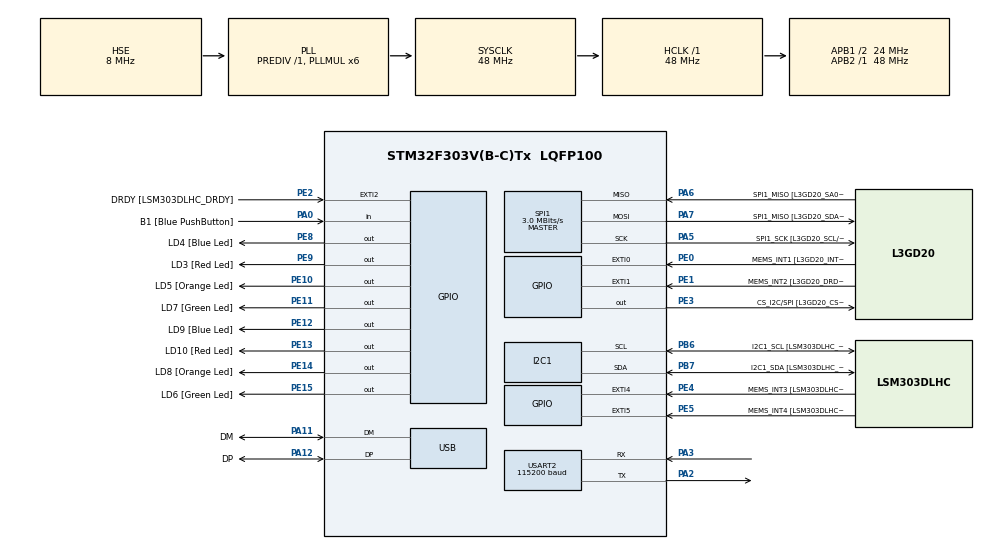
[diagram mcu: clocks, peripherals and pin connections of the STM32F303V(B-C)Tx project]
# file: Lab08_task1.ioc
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I2C1.Timing=0x2000090E
I2C1.Timing-I2C=0x2000090E
Mcu.Family=STM32F3
Mcu.Name=STM32F303V(B-C)Tx
Mcu.Package=LQFP100
NVIC.PriorityGroup=NVIC_PRIORITYGROUP_0
PA0.GPIO_Label=B1 [Blue PushButton]
PA0.Signal=GPIO_Input
PA11.GPIO_Label=DM
PA11.Mode=Device
PA11.Signal=USB_DM
PA12.GPIO_Label=DP
PA12.Mode=Device
PA12.Signal=USB_DP
PA13.GPIO_Label=SWDIO
PA13.Mode=Serial_Wire
PA13.Signal=SYS_JTMS-SWDIO
PA14.GPIO_Label=SWCLK
PA14.Mode=Serial_Wire
PA14.Signal=SYS_JTCK-SWCLK
PA2.Mode=Asynchronous
PA2.Signal=USART2_TX
PA3.Mode=Asynchronous
PA3.Signal=USART2_RX
PA5.GPIO_Label=SPI1_SCK [L3GD20_SCL/SPC]
PA5.Mode=Full_Duplex_Master
PA5.Signal=SPI1_SCK
PA6.GPIO_Label=SPI1_MISO [L3GD20_SA0/SDO]
PA6.Mode=Full_Duplex_Master
PA6.Signal=SPI1_MISO
PA7.GPIO_Label=SPI1_MISO [L3GD20_SDA/SDI/SDO]
PA7.Mode=Full_Duplex_Master
PA7.Signal=SPI1_MOSI
PB3.GPIO_Label=SWO
PB3.Signal=SYS_JTDO-TRACESWO
PB6.GPIO_Label=I2C1_SCL [LSM303DLHC_SCL]
PB6.GPIO_Pu=GPIO_PULLUP
PB6.Mode=I2C
PB6.Signal=I2C1_SCL
PB7.GPIO_Label=I2C1_SDA [LSM303DLHC_SDA]
PB7.GPIO_Pu=GPIO_PULLUP
PB7.Mode=I2C
PB7.Signal=I2C1_SDA
PC14-OSC32_IN.GPIO_Label=OSC32_IN
PC14-OSC32_IN.Signal=RCC_OSC32_IN
PC15-OSC32_OUT.GPIO_Label=OSC32_OUT
PC15-OSC32_OUT.Signal=RCC_OSC32_OUT
PE0.GPIO_Label=MEMS_INT1 [L3GD20_INT1]
PE0.GPIO_ModeDefaultEXTI=GPIO_MODE_EVT_RISING
PE0.Signal=GPXTI0
PE1.GPIO_Label=MEMS_INT2 [L3GD20_DRDY/INT2]
PE1.GPIO_ModeDefaultEXTI=GPIO_MODE_EVT_RISING
PE1.Signal=GPXTI1
PE10.GPIO_Label=LD5 [Orange Led]
PE10.Signal=GPIO_Output
PE11.GPIO_Label=LD7 [Green Led]
PE11.Signal=GPIO_Output
PE12.GPIO_Label=LD9 [Blue Led]
PE12.Signal=GPIO_Output
PE13.GPIO_Label=LD10 [Red Led]
PE13.Signal=GPIO_Output
PE14.GPIO_Label=LD8 [Orange Led]
PE14.Signal=GPIO_Output
PE15.GPIO_Label=LD6 [Green Led]
PE15.Signal=GPIO_Output
PE2.GPIO_Label=DRDY [LSM303DLHC_DRDY]
PE2.GPIO_ModeDefaultEXTI=GPIO_MODE_EVT_RISING
PE2.Signal=GPXTI2
PE3.GPIO_Label=CS_I2C/SPI [L3GD20_CS_I2C/SPI]
PE3.Signal=GPIO_Output
PE4.GPIO_Label=MEMS_INT3 [LSM303DLHC_INT1]
PE4.GPIO_ModeDefaultEXTI=GPIO_MODE_EVT_RISING
PE4.Signal=GPXTI4
PE5.GPIO_Label=MEMS_INT4 [LSM303DLHC_INT2]
PE5.GPIO_ModeDefaultEXTI=GPIO_MODE_EVT_RISING
PE5.Signal=GPXTI5
PE8.GPIO_Label=LD4 [Blue Led]
PE8.Signal=GPIO_Output
PE9.GPIO_Label=LD3 [Red Led]
PE9.Signal=GPIO_Output
PF0-OSC_IN.GPIO_Label=OSC_IN
PF0-OSC_IN.Mode=HSE-External-Clock-Source
PF0-OSC_IN.Signal=RCC_OSC_IN
PF1-OSC_OUT.GPIO_Label=OSC_OUT
PF1-OSC_OUT.Signal=RCC_OSC_OUT
ProjectManager.HeapSize=0x200
ProjectManager.StackSize=0x400
ProjectManager.TargetToolchain=CMake
RCC.AHBFreq_Value=48000000
RCC.APB1CLKDivider=RCC_HCLK_DIV2
RCC.APB1Freq_Value=24000000
RCC.APB1TimFreq_Value=48000000
RCC.APB2Freq_Value=48000000
RCC.APB2TimFreq_Value=48000000
RCC.CortexFreq_Value=48000000
RCC.HCLKFreq_Value=48000000
RCC.HSE_VALUE=8000000
RCC.HSI_VALUE=8000000
RCC.LSE_VALUE=32768
RCC.PLLMUL=RCC_PLL_MUL6
RCC.SYSCLKFreq_VALUE=48000000
RCC.SYSCLKSourceVirtual=RCC_SYSCLKSOURCE_PLLCLK
RCC.USBFreq_Value=48000000
SPI1.BaudRatePrescaler=SPI_BAUDRATEPRESCALER_16
SPI1.BaudRatePrescaler-Full_Duplex_Master=SPI_BAUDRATEPRESCALER_2
SPI1.CLKPhase=SPI_PHASE_2EDGE
SPI1.CLKPolarity=SPI_POLARITY_HIGH
SPI1.CalculateBaudRate=3.0 MBits/s
SPI1.CalculateBaudRate-Full_Duplex_Master=24.0 MBits/s
SPI1.DataSize=SPI_DATASIZE_8BIT
SPI1.Direction=SPI_DIRECTION_2LINES
SPI1.Mode=SPI_MODE_MASTER
SPI1.Mode-Full_Duplex_Master=SPI_MODE_MASTER
SPI1.VirtualType=VM_MASTER
USART2.BaudRate=115200
USART2.VirtualMode-Asynchronous=VM_ASYNC
board=STM32F3DISCOVERY

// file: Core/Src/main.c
/* USER CODE BEGIN Header */
/**
  ******************************************************************************
  * @file           : main.c
  * @brief          : Main program body
  ******************************************************************************
  * @attention
  *
  * Copyright (c) 2026 STMicroelectronics.
  * All rights reserved.
  *
  * This software is licensed under terms that can be found in the LICENSE file
  * in the root directory of this software component.
  * If no LICENSE file comes with this software, it is provided AS-IS.
  *
  ******************************************************************************
  */
/* USER CODE END Header */
#include "main.h"

/* USER CODE BEGIN Includes */
#include <stdio.h>
#include <stdarg.h>
#include <string.h>
/* USER CODE END Includes */

/* USER CODE BEGIN PD */
#define WHO_AM_I_REG   0x0F
#define GYRO_READ_BIT  0x80   // read bit, 7 to 1
#define ID_I3G4250D    0xD3   // blue board
#define ID_L3GD20      0xD4   // green board
/* USER CODE END PD */

I2C_HandleTypeDef hi2c1;

SPI_HandleTypeDef hspi1;

UART_HandleTypeDef huart2;

PCD_HandleTypeDef hpcd_USB_FS;

void SystemClock_Config(void);
static void MX_GPIO_Init(void);
static void MX_I2C1_Init(void);
static void MX_SPI1_Init(void);
static void MX_USB_PCD_Init(void);
static void MX_USART2_UART_Init(void);

/* USER CODE BEGIN 0 */

void myPrintf(const char *fmt, ...)
{
    char buffer[100];
    va_list args;
    va_start(args, fmt);
    vsnprintf(buffer, sizeof(buffer), fmt, args);
    va_end(args);
    HAL_UART_Transmit(&huart2, (uint8_t *)buffer, strlen(buffer), HAL_MAX_DELAY);
}

void gyro_cs_low(void)
{
    HAL_GPIO_WritePin(GPIOE, GPIO_PIN_3, GPIO_PIN_RESET);
}

void gyro_cs_high(void)
{
    HAL_GPIO_WritePin(GPIOE, GPIO_PIN_3, GPIO_PIN_SET);
}

uint8_t gyro_read_reg(uint8_t reg)
{
    uint8_t cmd  = GYRO_READ_BIT | reg;   // 0x80 | 0x0F = 0x8F
    uint8_t data = 0;

    gyro_cs_low();                                    // select gyro
    HAL_SPI_Transmit(&hspi1, &cmd, 1, HAL_MAX_DELAY); // send command byte
    HAL_SPI_Receive(&hspi1, &data, 1, HAL_MAX_DELAY); // read register value
    gyro_cs_high();                                   // deselect gyro

    return data;
}

void check_who_am_i(void)
{
    uint8_t id = gyro_read_reg(WHO_AM_I_REG);

    myPrintf("WHO_AM_I = 0x%02X -> ", id);
    if (id == ID_I3G4250D)      myPrintf("I3G4250D detected\r\n");
    else if (id == ID_L3GD20)   myPrintf("L3GD20 detected\r\n");
    else                        myPrintf("Unknown / no response\r\n");
}

/* USER CODE END 0 */

int main(void)
{

  /* MCU Configuration--------------------------------------------------------*/

  /* Reset of all peripherals, Initializes the Flash interface and the Systick. */
  HAL_Init();

  /* Configure the system clock */
  SystemClock_Config();

  /* Initialize all configured peripherals */
  MX_GPIO_Init();
  MX_I2C1_Init();
  MX_SPI1_Init();
  MX_USB_PCD_Init();
  MX_USART2_UART_Init();
  /* USER CODE BEGIN 2 */
    gyro_cs_high();     // make sure gyro starts deselected
    HAL_Delay(10);      // let the sensor settle after power-up
  /* USER CODE END 2 */

  /* Infinite loop */
  /* USER CODE BEGIN WHILE */
  while (1)
  {

    check_who_am_i();
    HAL_Delay(1000);
    /* USER CODE END WHILE */

  }
}

void SystemClock_Config(void)
{
  RCC_OscInitTypeDef RCC_OscInitStruct = {0};
  RCC_ClkInitTypeDef RCC_ClkInitStruct = {0};
  RCC_PeriphCLKInitTypeDef PeriphClkInit = {0};

  /** Initializes the RCC Oscillators according to the specified parameters
  * in the RCC_OscInitTypeDef structure.
  */
  RCC_OscInitStruct.OscillatorType = RCC_OSCILLATORTYPE_HSI|RCC_OSCILLATORTYPE_HSE;
  RCC_OscInitStruct.HSEState = RCC_HSE_BYPASS;
  RCC_OscInitStruct.HSEPredivValue = RCC_HSE_PREDIV_DIV1;
  RCC_OscInitStruct.HSIState = RCC_HSI_ON;
  RCC_OscInitStruct.HSICalibrationValue = RCC_HSICALIBRATION_DEFAULT;
  RCC_OscInitStruct.PLL.PLLState = RCC_PLL_ON;
  RCC_OscInitStruct.PLL.PLLSource = RCC_PLLSOURCE_HSE;
  RCC_OscInitStruct.PLL.PLLMUL = RCC_PLL_MUL6;
  if (HAL_RCC_OscConfig(&RCC_OscInitStruct) != HAL_OK)
  {
    Error_Handler();
  }

  /** Initializes the CPU, AHB and APB buses clocks
  */
  RCC_ClkInitStruct.ClockType = RCC_CLOCKTYPE_HCLK|RCC_CLOCKTYPE_SYSCLK
                              |RCC_CLOCKTYPE_PCLK1|RCC_CLOCKTYPE_PCLK2;
  RCC_ClkInitStruct.SYSCLKSource = RCC_SYSCLKSOURCE_PLLCLK;
  RCC_ClkInitStruct.AHBCLKDivider = RCC_SYSCLK_DIV1;
  RCC_ClkInitStruct.APB1CLKDivider = RCC_HCLK_DIV2;
  RCC_ClkInitStruct.APB2CLKDivider = RCC_HCLK_DIV1;

  if (HAL_RCC_ClockConfig(&RCC_ClkInitStruct, FLASH_LATENCY_1) != HAL_OK)
  {
    Error_Handler();
  }
  PeriphClkInit.PeriphClockSelection = RCC_PERIPHCLK_USB|RCC_PERIPHCLK_USART2
                              |RCC_PERIPHCLK_I2C1;
  PeriphClkInit.Usart2ClockSelection = RCC_USART2CLKSOURCE_PCLK1;
  PeriphClkInit.I2c1ClockSelection = RCC_I2C1CLKSOURCE_HSI;
  PeriphClkInit.USBClockSelection = RCC_USBCLKSOURCE_PLL;
  if (HAL_RCCEx_PeriphCLKConfig(&PeriphClkInit) != HAL_OK)
  {
    Error_Handler();
  }
}

static void MX_I2C1_Init(void)
{

  hi2c1.Instance = I2C1;
  hi2c1.Init.Timing = 0x2000090E;
  hi2c1.Init.OwnAddress1 = 0;
  hi2c1.Init.AddressingMode = I2C_ADDRESSINGMODE_7BIT;
  hi2c1.Init.DualAddressMode = I2C_DUALADDRESS_DISABLE;
  hi2c1.Init.OwnAddress2 = 0;
  hi2c1.Init.OwnAddress2Masks = I2C_OA2_NOMASK;
  hi2c1.Init.GeneralCallMode = I2C_GENERALCALL_DISABLE;
  hi2c1.Init.NoStretchMode = I2C_NOSTRETCH_DISABLE;
  if (HAL_I2C_Init(&hi2c1) != HAL_OK)
  {
    Error_Handler();
  }

  /** Configure Analogue filter
  */
  if (HAL_I2CEx_ConfigAnalogFilter(&hi2c1, I2C_ANALOGFILTER_ENABLE) != HAL_OK)
  {
    Error_Handler();
  }

  /** Configure Digital filter
  */
  if (HAL_I2CEx_ConfigDigitalFilter(&hi2c1, 0) != HAL_OK)
  {
    Error_Handler();
  }

}

static void MX_SPI1_Init(void)
{

  /* SPI1 parameter configuration*/
  hspi1.Instance = SPI1;
  hspi1.Init.Mode = SPI_MODE_MASTER;
  hspi1.Init.Direction = SPI_DIRECTION_2LINES;
  hspi1.Init.DataSize = SPI_DATASIZE_8BIT;
  hspi1.Init.CLKPolarity = SPI_POLARITY_HIGH;
  hspi1.Init.CLKPhase = SPI_PHASE_2EDGE;
  hspi1.Init.NSS = SPI_NSS_SOFT;
  hspi1.Init.BaudRatePrescaler = SPI_BAUDRATEPRESCALER_16;
  hspi1.Init.FirstBit = SPI_FIRSTBIT_MSB;
  hspi1.Init.TIMode = SPI_TIMODE_DISABLE;
  hspi1.Init.CRCCalculation = SPI_CRCCALCULATION_DISABLE;
  hspi1.Init.CRCPolynomial = 7;
  hspi1.Init.CRCLength = SPI_CRC_LENGTH_DATASIZE;
  hspi1.Init.NSSPMode = SPI_NSS_PULSE_DISABLE;
  if (HAL_SPI_Init(&hspi1) != HAL_OK)
  {
    Error_Handler();
  }

}

static void MX_USART2_UART_Init(void)
{

  huart2.Instance = USART2;
  huart2.Init.BaudRate = 115200;
  huart2.Init.WordLength = UART_WORDLENGTH_8B;
  huart2.Init.StopBits = UART_STOPBITS_1;
  huart2.Init.Parity = UART_PARITY_NONE;
  huart2.Init.Mode = UART_MODE_TX_RX;
  huart2.Init.HwFlowCtl = UART_HWCONTROL_NONE;
  huart2.Init.OverSampling = UART_OVERSAMPLING_16;
  huart2.Init.OneBitSampling = UART_ONE_BIT_SAMPLE_DISABLE;
  huart2.AdvancedInit.AdvFeatureInit = UART_ADVFEATURE_NO_INIT;
  if (HAL_UART_Init(&huart2) != HAL_OK)
  {
    Error_Handler();
  }

}

static void MX_USB_PCD_Init(void)
{

  hpcd_USB_FS.Instance = USB;
  hpcd_USB_FS.Init.dev_endpoints = 8;
  hpcd_USB_FS.Init.speed = PCD_SPEED_FULL;
  hpcd_USB_FS.Init.phy_itface = PCD_PHY_EMBEDDED;
  hpcd_USB_FS.Init.low_power_enable = DISABLE;
  hpcd_USB_FS.Init.battery_charging_enable = DISABLE;
  if (HAL_PCD_Init(&hpcd_USB_FS) != HAL_OK)
  {
    Error_Handler();
  }

}

static void MX_GPIO_Init(void)
{
  GPIO_InitTypeDef GPIO_InitStruct = {0};

  /* GPIO Ports Clock Enable */
  __HAL_RCC_GPIOE_CLK_ENABLE();
  __HAL_RCC_GPIOC_CLK_ENABLE();
  __HAL_RCC_GPIOF_CLK_ENABLE();
  __HAL_RCC_GPIOA_CLK_ENABLE();
  __HAL_RCC_GPIOB_CLK_ENABLE();

  /*Configure GPIO pin Output Level */
  HAL_GPIO_WritePin(GPIOE, CS_I2C_SPI_Pin|LD4_Pin|LD3_Pin|LD5_Pin
                          |LD7_Pin|LD9_Pin|LD10_Pin|LD8_Pin
                          |LD6_Pin, GPIO_PIN_RESET);

  /*Configure GPIO pins : DRDY_Pin MEMS_INT3_Pin MEMS_INT4_Pin MEMS_INT1_Pin
                           MEMS_INT2_Pin */
  GPIO_InitStruct.Pin = DRDY_Pin|MEMS_INT3_Pin|MEMS_INT4_Pin|MEMS_INT1_Pin
                          |MEMS_INT2_Pin;
  GPIO_InitStruct.Mode = GPIO_MODE_EVT_RISING;
  GPIO_InitStruct.Pull = GPIO_NOPULL;
  HAL_GPIO_Init(GPIOE, &GPIO_InitStruct);

  /*Configure GPIO pins : CS_I2C_SPI_Pin LD4_Pin LD3_Pin LD5_Pin
                           LD7_Pin LD9_Pin LD10_Pin LD8_Pin
                           LD6_Pin */
  GPIO_InitStruct.Pin = CS_I2C_SPI_Pin|LD4_Pin|LD3_Pin|LD5_Pin
                          |LD7_Pin|LD9_Pin|LD10_Pin|LD8_Pin
                          |LD6_Pin;
  GPIO_InitStruct.Mode = GPIO_MODE_OUTPUT_PP;
  GPIO_InitStruct.Pull = GPIO_NOPULL;
  GPIO_InitStruct.Speed = GPIO_SPEED_FREQ_LOW;
  HAL_GPIO_Init(GPIOE, &GPIO_InitStruct);

  /*Configure GPIO pin : B1_Pin */
  GPIO_InitStruct.Pin = B1_Pin;
  GPIO_InitStruct.Mode = GPIO_MODE_INPUT;
  GPIO_InitStruct.Pull = GPIO_NOPULL;
  HAL_GPIO_Init(B1_GPIO_Port, &GPIO_InitStruct);

}

void Error_Handler(void)
{
  __disable_irq();
  while (1)
  {
  }
}
